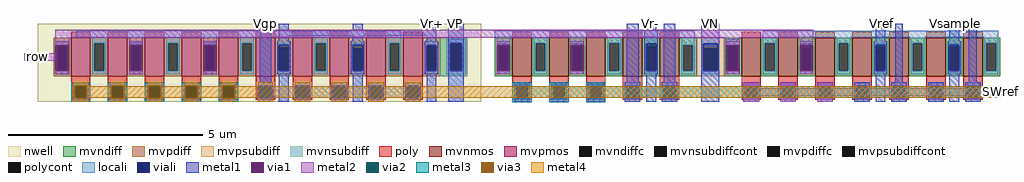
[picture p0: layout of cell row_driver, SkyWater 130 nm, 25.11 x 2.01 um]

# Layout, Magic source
magic
tech sky130B
<< nwell >>
rect -30 -2124 1110 -1924
<< mvnmos >>
rect 1190 -2059 1240 -1959
rect 1285 -2059 1335 -1959
rect 1380 -2059 1430 -1959
rect 1475 -2059 1525 -1959
rect 1570 -2059 1620 -1959
rect 1780 -2059 1830 -1959
rect 1875 -2059 1925 -1959
rect 1970 -2059 2020 -1959
rect 2065 -2059 2115 -1959
rect 2160 -2059 2210 -1959
rect 2255 -2059 2305 -1959
rect 2350 -2059 2400 -1959
<< mvpmos >>
rect 55 -2059 105 -1959
rect 150 -2059 200 -1959
rect 245 -2059 295 -1959
rect 340 -2059 390 -1959
rect 435 -2059 485 -1959
rect 530 -2059 580 -1959
rect 625 -2059 675 -1959
rect 720 -2059 770 -1959
rect 815 -2059 865 -1959
rect 910 -2059 960 -1959
<< mvndiff >>
rect 1145 -1985 1190 -1959
rect 1145 -2044 1155 -1985
rect 1180 -2044 1190 -1985
rect 1145 -2059 1190 -2044
rect 1240 -1974 1285 -1959
rect 1240 -2044 1250 -1974
rect 1275 -2044 1285 -1974
rect 1240 -2059 1285 -2044
rect 1335 -1985 1380 -1959
rect 1335 -2044 1345 -1985
rect 1370 -2044 1380 -1985
rect 1335 -2059 1380 -2044
rect 1430 -1974 1475 -1959
rect 1430 -2044 1440 -1974
rect 1465 -2044 1475 -1974
rect 1430 -2059 1475 -2044
rect 1525 -1983 1570 -1959
rect 1525 -2044 1535 -1983
rect 1560 -2044 1570 -1983
rect 1525 -2059 1570 -2044
rect 1620 -1979 1665 -1959
rect 1620 -2044 1630 -1979
rect 1655 -2044 1665 -1979
rect 1735 -1979 1780 -1959
rect 1735 -2044 1745 -1979
rect 1770 -2044 1780 -1979
rect 1620 -2059 1665 -2044
rect 1735 -2059 1780 -2044
rect 1830 -1974 1875 -1959
rect 1830 -2044 1840 -1974
rect 1865 -2044 1875 -1974
rect 1830 -2059 1875 -2044
rect 1925 -1986 1970 -1959
rect 1925 -2044 1935 -1986
rect 1960 -2044 1970 -1986
rect 1925 -2059 1970 -2044
rect 2020 -1974 2065 -1959
rect 2020 -2044 2030 -1974
rect 2055 -2044 2065 -1974
rect 2020 -2059 2065 -2044
rect 2115 -1984 2160 -1959
rect 2115 -2044 2125 -1984
rect 2150 -2044 2160 -1984
rect 2115 -2059 2160 -2044
rect 2210 -1974 2255 -1959
rect 2210 -2044 2220 -1974
rect 2245 -2044 2255 -1974
rect 2210 -2059 2255 -2044
rect 2305 -1984 2350 -1959
rect 2305 -2044 2315 -1984
rect 2340 -2044 2350 -1984
rect 2305 -2059 2350 -2044
rect 2400 -1974 2445 -1959
rect 2400 -2044 2410 -1974
rect 2435 -2044 2445 -1974
rect 2400 -2059 2445 -2044
<< mvpdiff >>
rect 10 -1979 55 -1959
rect 10 -2044 20 -1979
rect 45 -2044 55 -1979
rect 10 -2059 55 -2044
rect 105 -1974 150 -1959
rect 105 -2044 115 -1974
rect 140 -2044 150 -1974
rect 105 -2059 150 -2044
rect 200 -1986 245 -1959
rect 200 -2044 210 -1986
rect 235 -2044 245 -1986
rect 200 -2059 245 -2044
rect 295 -1974 340 -1959
rect 295 -2044 305 -1974
rect 330 -2044 340 -1974
rect 295 -2059 340 -2044
rect 390 -1985 435 -1959
rect 390 -2044 400 -1985
rect 425 -2044 435 -1985
rect 390 -2059 435 -2044
rect 485 -1974 530 -1959
rect 485 -2044 495 -1974
rect 520 -2044 530 -1974
rect 485 -2059 530 -2044
rect 580 -1985 625 -1959
rect 580 -2044 590 -1985
rect 615 -2044 625 -1985
rect 580 -2059 625 -2044
rect 675 -1974 720 -1959
rect 675 -2044 685 -1974
rect 710 -2044 720 -1974
rect 675 -2059 720 -2044
rect 770 -1988 815 -1959
rect 770 -2044 780 -1988
rect 805 -2044 815 -1988
rect 770 -2059 815 -2044
rect 865 -1974 910 -1959
rect 865 -2044 875 -1974
rect 900 -2044 910 -1974
rect 865 -2059 910 -2044
rect 960 -1979 1005 -1959
rect 960 -2044 970 -1979
rect 995 -2044 1005 -1979
rect 960 -2059 1005 -2044
<< mvndiffc >>
rect 1155 -2044 1180 -1985
rect 1250 -2044 1275 -1974
rect 1345 -2044 1370 -1985
rect 1440 -2044 1465 -1974
rect 1535 -2044 1560 -1983
rect 1630 -2044 1655 -1979
rect 1745 -2044 1770 -1979
rect 1840 -2044 1865 -1974
rect 1935 -2044 1960 -1986
rect 2030 -2044 2055 -1974
rect 2125 -2044 2150 -1984
rect 2220 -2044 2245 -1974
rect 2315 -2044 2340 -1984
rect 2410 -2044 2435 -1974
<< mvpdiffc >>
rect 20 -2044 45 -1979
rect 115 -2044 140 -1974
rect 210 -2044 235 -1986
rect 305 -2044 330 -1974
rect 400 -2044 425 -1985
rect 495 -2044 520 -1974
rect 590 -2044 615 -1985
rect 685 -2044 710 -1974
rect 780 -2044 805 -1988
rect 875 -2044 900 -1974
rect 970 -2044 995 -1979
<< mvpsubdiff >>
rect 1665 -1986 1735 -1959
rect 1665 -2044 1681 -1986
rect 1719 -2044 1735 -1986
rect 1665 -2059 1735 -2044
<< mvnsubdiff >>
rect 1005 -1974 1075 -1959
rect 1005 -2044 1030 -1974
rect 1060 -2044 1075 -1974
rect 1005 -2059 1075 -2044
<< mvpsubdiffcont >>
rect 1681 -2044 1719 -1986
<< mvnsubdiffcont >>
rect 1030 -2044 1060 -1974
<< poly >>
rect 55 -1959 105 -1944
rect 150 -1959 200 -1944
rect 245 -1959 295 -1944
rect 340 -1959 390 -1944
rect 435 -1959 485 -1944
rect 530 -1959 580 -1944
rect 625 -1959 675 -1944
rect 720 -1959 770 -1944
rect 815 -1959 865 -1944
rect 910 -1959 960 -1944
rect 1190 -1959 1240 -1944
rect 1285 -1959 1335 -1944
rect 1380 -1959 1430 -1944
rect 1475 -1959 1525 -1944
rect 1570 -1959 1620 -1944
rect 1780 -1959 1830 -1944
rect 1875 -1959 1925 -1944
rect 1970 -1959 2020 -1944
rect 2065 -1959 2115 -1944
rect 2160 -1959 2210 -1944
rect 2255 -1959 2305 -1944
rect 2350 -1959 2400 -1944
rect 55 -2084 105 -2059
rect 55 -2114 65 -2084
rect 95 -2114 105 -2084
rect 55 -2119 105 -2114
rect 150 -2084 200 -2059
rect 150 -2114 160 -2084
rect 190 -2114 200 -2084
rect 150 -2119 200 -2114
rect 245 -2084 295 -2059
rect 245 -2114 255 -2084
rect 285 -2114 295 -2084
rect 245 -2119 295 -2114
rect 340 -2084 390 -2059
rect 340 -2114 350 -2084
rect 380 -2114 390 -2084
rect 340 -2119 390 -2114
rect 435 -2084 485 -2059
rect 435 -2114 445 -2084
rect 475 -2114 485 -2084
rect 435 -2119 485 -2114
rect 530 -2084 580 -2059
rect 530 -2114 540 -2084
rect 570 -2114 580 -2084
rect 530 -2119 580 -2114
rect 625 -2084 675 -2059
rect 625 -2114 635 -2084
rect 665 -2114 675 -2084
rect 625 -2119 675 -2114
rect 720 -2084 770 -2059
rect 720 -2114 730 -2084
rect 760 -2114 770 -2084
rect 720 -2119 770 -2114
rect 815 -2084 865 -2059
rect 815 -2114 825 -2084
rect 855 -2114 865 -2084
rect 815 -2119 865 -2114
rect 910 -2084 960 -2059
rect 910 -2114 920 -2084
rect 950 -2114 960 -2084
rect 910 -2119 960 -2114
rect 1190 -2084 1240 -2059
rect 1190 -2114 1200 -2084
rect 1230 -2114 1240 -2084
rect 1190 -2119 1240 -2114
rect 1285 -2084 1335 -2059
rect 1285 -2114 1295 -2084
rect 1325 -2114 1335 -2084
rect 1285 -2119 1335 -2114
rect 1380 -2084 1430 -2059
rect 1380 -2114 1390 -2084
rect 1420 -2114 1430 -2084
rect 1380 -2119 1430 -2114
rect 1475 -2084 1525 -2059
rect 1475 -2114 1485 -2084
rect 1515 -2114 1525 -2084
rect 1475 -2119 1525 -2114
rect 1570 -2084 1620 -2059
rect 1570 -2114 1580 -2084
rect 1610 -2114 1620 -2084
rect 1570 -2119 1620 -2114
rect 1780 -2084 1830 -2059
rect 1780 -2114 1790 -2084
rect 1820 -2114 1830 -2084
rect 1780 -2119 1830 -2114
rect 1875 -2084 1925 -2059
rect 1875 -2114 1885 -2084
rect 1915 -2114 1925 -2084
rect 1875 -2119 1925 -2114
rect 1970 -2084 2020 -2059
rect 1970 -2114 1980 -2084
rect 2010 -2114 2020 -2084
rect 1970 -2119 2020 -2114
rect 2065 -2084 2115 -2059
rect 2065 -2114 2075 -2084
rect 2105 -2114 2115 -2084
rect 2065 -2119 2115 -2114
rect 2160 -2084 2210 -2059
rect 2160 -2114 2170 -2084
rect 2200 -2114 2210 -2084
rect 2160 -2119 2210 -2114
rect 2255 -2084 2305 -2059
rect 2255 -2114 2265 -2084
rect 2295 -2114 2305 -2084
rect 2255 -2119 2305 -2114
rect 2350 -2084 2400 -2059
rect 2350 -2114 2360 -2084
rect 2390 -2114 2400 -2084
rect 2350 -2119 2400 -2114
<< polycont >>
rect 65 -2114 95 -2084
rect 160 -2114 190 -2084
rect 255 -2114 285 -2084
rect 350 -2114 380 -2084
rect 445 -2114 475 -2084
rect 540 -2114 570 -2084
rect 635 -2114 665 -2084
rect 730 -2114 760 -2084
rect 825 -2114 855 -2084
rect 920 -2114 950 -2084
rect 1200 -2114 1230 -2084
rect 1295 -2114 1325 -2084
rect 1390 -2114 1420 -2084
rect 1485 -2114 1515 -2084
rect 1580 -2114 1610 -2084
rect 1790 -2114 1820 -2084
rect 1885 -2114 1915 -2084
rect 1980 -2114 2010 -2084
rect 2075 -2114 2105 -2084
rect 2170 -2114 2200 -2084
rect 2265 -2114 2295 -2084
rect 2360 -2114 2390 -2084
<< locali >>
rect 68 -1958 905 -1941
rect 1145 -1958 1660 -1941
rect 15 -1979 50 -1969
rect 15 -2044 20 -1979
rect 45 -2044 50 -1979
rect 15 -2054 50 -2044
rect 110 -1974 145 -1958
rect 110 -2044 115 -1974
rect 140 -2044 145 -1974
rect 300 -1974 335 -1958
rect 110 -2054 145 -2044
rect 205 -1979 240 -1975
rect 205 -2044 210 -1979
rect 235 -2044 240 -1979
rect 205 -2054 240 -2044
rect 300 -2044 305 -1974
rect 330 -2044 335 -1974
rect 490 -1974 525 -1958
rect 300 -2054 335 -2044
rect 395 -1979 430 -1975
rect 395 -2044 400 -1979
rect 425 -2044 430 -1979
rect 395 -2054 430 -2044
rect 490 -2044 495 -1974
rect 520 -2044 525 -1974
rect 680 -1974 715 -1958
rect 490 -2054 525 -2044
rect 585 -1979 620 -1975
rect 585 -2044 590 -1979
rect 615 -2044 620 -1979
rect 585 -2054 620 -2044
rect 680 -2044 685 -1974
rect 710 -2044 715 -1974
rect 870 -1974 905 -1958
rect 680 -2054 715 -2044
rect 775 -1979 810 -1975
rect 775 -2044 780 -1979
rect 805 -2044 810 -1979
rect 775 -2054 810 -2044
rect 870 -2044 875 -1974
rect 900 -2044 905 -1974
rect 870 -2054 905 -2044
rect 965 -1979 1000 -1969
rect 965 -2044 970 -1979
rect 995 -2044 1000 -1979
rect 965 -2054 1000 -2044
rect 1020 -1974 1070 -1964
rect 1020 -2044 1030 -1974
rect 1060 -2044 1070 -1974
rect 1245 -1974 1280 -1958
rect 1020 -2054 1070 -2044
rect 1150 -1979 1185 -1975
rect 1150 -2044 1155 -1979
rect 1180 -2044 1185 -1979
rect 1150 -2054 1185 -2044
rect 1245 -2044 1250 -1974
rect 1275 -2044 1280 -1974
rect 1435 -1974 1470 -1958
rect 1245 -2054 1280 -2044
rect 1340 -1979 1375 -1975
rect 1340 -2044 1345 -1979
rect 1370 -2044 1375 -1979
rect 1340 -2054 1375 -2044
rect 1435 -2044 1440 -1974
rect 1465 -2044 1470 -1974
rect 1435 -2054 1470 -2044
rect 1530 -2044 1535 -1975
rect 1560 -2044 1565 -1975
rect 1530 -2054 1565 -2044
rect 1625 -1979 1660 -1958
rect 1835 -1958 2440 -1941
rect 1625 -2044 1630 -1979
rect 1655 -2044 1660 -1979
rect 1625 -2054 1660 -2044
rect 1677 -2044 1681 -1975
rect 1719 -2044 1723 -1975
rect 1677 -2054 1723 -2044
rect 1740 -1979 1775 -1964
rect 1740 -2044 1745 -1979
rect 1770 -2044 1775 -1979
rect 1740 -2054 1775 -2044
rect 1835 -1974 1870 -1958
rect 1835 -2044 1840 -1974
rect 1865 -2044 1870 -1974
rect 2025 -1974 2060 -1958
rect 1835 -2054 1870 -2044
rect 1930 -1979 1965 -1975
rect 1930 -2044 1935 -1979
rect 1960 -2044 1965 -1979
rect 1930 -2054 1965 -2044
rect 2025 -2044 2030 -1974
rect 2055 -2044 2060 -1974
rect 2215 -1974 2250 -1958
rect 2025 -2054 2060 -2044
rect 2120 -1979 2155 -1975
rect 2120 -2044 2125 -1979
rect 2150 -2044 2155 -1979
rect 2120 -2054 2155 -2044
rect 2215 -2044 2220 -1974
rect 2245 -2044 2250 -1974
rect 2405 -1974 2440 -1958
rect 2215 -2054 2250 -2044
rect 2310 -1979 2345 -1975
rect 2310 -2044 2315 -1979
rect 2340 -2044 2345 -1979
rect 2310 -2054 2345 -2044
rect 2405 -2044 2410 -1974
rect 2435 -2044 2440 -1974
rect 2405 -2054 2440 -2044
rect 60 -2084 100 -2074
rect 60 -2114 65 -2084
rect 95 -2114 100 -2084
rect 60 -2124 100 -2114
rect 155 -2084 195 -2074
rect 155 -2114 160 -2084
rect 190 -2114 195 -2084
rect 155 -2124 195 -2114
rect 250 -2084 290 -2074
rect 250 -2114 255 -2084
rect 285 -2114 290 -2084
rect 250 -2124 290 -2114
rect 345 -2084 385 -2074
rect 345 -2114 350 -2084
rect 380 -2114 385 -2084
rect 345 -2124 385 -2114
rect 440 -2084 480 -2074
rect 440 -2114 445 -2084
rect 475 -2114 480 -2084
rect 440 -2124 480 -2114
rect 535 -2084 575 -2074
rect 630 -2084 670 -2074
rect 725 -2084 765 -2074
rect 820 -2084 860 -2074
rect 915 -2084 955 -2074
rect 535 -2114 540 -2084
rect 570 -2114 635 -2084
rect 665 -2114 730 -2084
rect 760 -2114 825 -2084
rect 855 -2114 920 -2084
rect 950 -2114 955 -2084
rect 535 -2124 575 -2114
rect 630 -2124 670 -2114
rect 725 -2124 765 -2114
rect 820 -2124 860 -2114
rect 915 -2124 955 -2114
rect 1195 -2084 1235 -2074
rect 1195 -2114 1200 -2084
rect 1230 -2114 1235 -2084
rect 1195 -2124 1235 -2114
rect 1290 -2084 1330 -2074
rect 1290 -2114 1295 -2084
rect 1325 -2114 1330 -2084
rect 1290 -2124 1330 -2114
rect 1385 -2084 1425 -2074
rect 1385 -2114 1390 -2084
rect 1420 -2114 1425 -2084
rect 1385 -2124 1425 -2114
rect 1480 -2084 1520 -2074
rect 1575 -2084 1615 -2074
rect 1480 -2114 1485 -2084
rect 1515 -2114 1580 -2084
rect 1610 -2114 1615 -2084
rect 1480 -2124 1520 -2114
rect 1575 -2124 1615 -2114
rect 1785 -2084 1825 -2074
rect 1785 -2114 1790 -2084
rect 1820 -2114 1825 -2084
rect 1785 -2124 1825 -2114
rect 1880 -2084 1920 -2074
rect 1880 -2114 1885 -2084
rect 1915 -2114 1920 -2084
rect 1880 -2124 1920 -2114
rect 1975 -2084 2015 -2074
rect 1975 -2114 1980 -2084
rect 2010 -2114 2015 -2084
rect 1975 -2124 2015 -2114
rect 2070 -2084 2110 -2074
rect 2165 -2084 2205 -2074
rect 2070 -2114 2075 -2084
rect 2105 -2114 2170 -2084
rect 2200 -2114 2205 -2084
rect 2070 -2124 2110 -2114
rect 2165 -2124 2205 -2114
rect 2260 -2084 2300 -2074
rect 2355 -2084 2395 -2074
rect 2260 -2114 2265 -2084
rect 2295 -2114 2360 -2084
rect 2390 -2114 2395 -2084
rect 2260 -2124 2300 -2114
rect 2355 -2124 2395 -2114
<< viali >>
rect 20 -2044 45 -1979
rect 210 -1986 235 -1979
rect 210 -2044 235 -1986
rect 400 -1985 425 -1979
rect 400 -2044 425 -1985
rect 590 -1985 615 -1979
rect 590 -2044 615 -1985
rect 780 -1988 805 -1979
rect 780 -2044 805 -1988
rect 970 -2044 995 -1979
rect 1030 -2044 1060 -1974
rect 1155 -1985 1180 -1979
rect 1155 -2044 1180 -1985
rect 1345 -1985 1370 -1979
rect 1345 -2044 1370 -1985
rect 1535 -1983 1560 -1975
rect 1535 -2044 1560 -1983
rect 1681 -1986 1719 -1975
rect 1681 -2044 1719 -1986
rect 1745 -2044 1770 -1979
rect 1935 -1986 1960 -1979
rect 1935 -2044 1960 -1986
rect 2125 -1984 2150 -1979
rect 2125 -2044 2150 -1984
rect 2315 -1984 2340 -1979
rect 2315 -2044 2340 -1984
rect 65 -2114 95 -2084
rect 160 -2114 190 -2084
rect 255 -2114 285 -2084
rect 350 -2114 380 -2084
rect 445 -2114 475 -2084
rect 540 -2114 570 -2084
rect 635 -2114 665 -2084
rect 730 -2114 760 -2084
rect 825 -2114 855 -2084
rect 920 -2114 950 -2084
rect 1200 -2114 1230 -2084
rect 1295 -2114 1325 -2084
rect 1390 -2114 1420 -2084
rect 1485 -2114 1515 -2084
rect 1580 -2114 1610 -2084
rect 1790 -2114 1820 -2084
rect 1885 -2114 1915 -2084
rect 1980 -2114 2010 -2084
rect 2075 -2114 2105 -2084
rect 2170 -2114 2200 -2084
rect 2265 -2114 2295 -2084
rect 2360 -2114 2390 -2084
<< metal1 >>
rect 15 -1979 50 -1969
rect 15 -2054 50 -2044
rect 205 -1979 240 -1969
rect 205 -2054 240 -2044
rect 395 -1979 430 -1969
rect 395 -2054 430 -2044
rect 540 -2074 570 -1924
rect 590 -1939 615 -1924
rect 780 -1939 805 -1924
rect 970 -1939 995 -1924
rect 590 -1954 995 -1939
rect 590 -1969 615 -1954
rect 780 -1969 805 -1954
rect 970 -1969 995 -1954
rect 585 -1979 620 -1969
rect 585 -2044 590 -1979
rect 615 -2044 620 -1979
rect 585 -2054 620 -2044
rect 775 -1979 810 -1969
rect 775 -2044 780 -1979
rect 805 -2044 810 -1979
rect 775 -2054 810 -2044
rect 965 -1979 1000 -1969
rect 965 -2044 970 -1979
rect 995 -2044 1000 -1979
rect 965 -2054 1000 -2044
rect 1025 -1974 1065 -1924
rect 1025 -2044 1030 -1974
rect 1060 -2044 1065 -1974
rect 60 -2084 100 -2074
rect 60 -2114 65 -2084
rect 95 -2114 100 -2084
rect 60 -2124 100 -2114
rect 155 -2084 195 -2074
rect 155 -2114 160 -2084
rect 190 -2114 195 -2084
rect 155 -2124 195 -2114
rect 250 -2084 290 -2074
rect 250 -2114 255 -2084
rect 285 -2114 290 -2084
rect 250 -2124 290 -2114
rect 345 -2084 385 -2074
rect 345 -2114 350 -2084
rect 380 -2114 385 -2084
rect 345 -2124 385 -2114
rect 440 -2084 480 -2074
rect 440 -2114 445 -2084
rect 475 -2114 480 -2084
rect 440 -2124 480 -2114
rect 535 -2084 575 -2074
rect 535 -2114 540 -2084
rect 570 -2114 575 -2084
rect 535 -2124 575 -2114
rect 590 -2124 615 -2054
rect 630 -2084 670 -2074
rect 630 -2114 635 -2084
rect 665 -2114 670 -2084
rect 630 -2124 670 -2114
rect 725 -2084 765 -2074
rect 725 -2114 730 -2084
rect 760 -2114 765 -2084
rect 725 -2124 765 -2114
rect 780 -2124 805 -2054
rect 820 -2084 860 -2074
rect 820 -2114 825 -2084
rect 855 -2114 860 -2084
rect 820 -2124 860 -2114
rect 915 -2084 955 -2074
rect 915 -2114 920 -2084
rect 950 -2114 955 -2084
rect 915 -2124 955 -2114
rect 970 -2124 995 -2054
rect 1025 -2124 1065 -2044
rect 1150 -1979 1185 -1969
rect 1150 -2054 1185 -2044
rect 1340 -1979 1375 -1969
rect 1340 -2054 1375 -2044
rect 1485 -2074 1515 -1924
rect 1535 -1939 1560 -1924
rect 1530 -1975 1565 -1939
rect 1530 -2044 1535 -1975
rect 1560 -2044 1565 -1975
rect 1530 -2054 1565 -2044
rect 1195 -2084 1235 -2074
rect 1195 -2114 1200 -2084
rect 1230 -2114 1235 -2084
rect 1195 -2124 1235 -2114
rect 1290 -2084 1330 -2074
rect 1290 -2114 1295 -2084
rect 1325 -2114 1330 -2084
rect 1290 -2124 1330 -2114
rect 1385 -2084 1425 -2074
rect 1385 -2114 1390 -2084
rect 1420 -2114 1425 -2084
rect 1385 -2124 1425 -2114
rect 1480 -2084 1520 -2074
rect 1480 -2114 1485 -2084
rect 1515 -2114 1520 -2084
rect 1480 -2124 1520 -2114
rect 1535 -2124 1560 -2054
rect 1580 -2074 1610 -1924
rect 1677 -1975 1723 -1924
rect 2125 -1969 2150 -1924
rect 1677 -2044 1681 -1975
rect 1719 -2044 1723 -1975
rect 1575 -2084 1615 -2074
rect 1575 -2114 1580 -2084
rect 1610 -2114 1615 -2084
rect 1575 -2124 1615 -2114
rect 1677 -2124 1723 -2044
rect 1740 -1979 1775 -1969
rect 1740 -2054 1775 -2044
rect 1930 -1979 1965 -1969
rect 1930 -2054 1965 -2044
rect 2120 -1979 2155 -1969
rect 2120 -2044 2125 -1979
rect 2150 -2044 2155 -1979
rect 2120 -2054 2155 -2044
rect 1785 -2084 1825 -2074
rect 1785 -2114 1790 -2084
rect 1820 -2114 1825 -2084
rect 1785 -2124 1825 -2114
rect 1880 -2084 1920 -2074
rect 1880 -2114 1885 -2084
rect 1915 -2114 1920 -2084
rect 1880 -2124 1920 -2114
rect 1975 -2084 2015 -2074
rect 1975 -2114 1980 -2084
rect 2010 -2114 2015 -2084
rect 1975 -2124 2015 -2114
rect 2070 -2084 2110 -2074
rect 2070 -2114 2075 -2084
rect 2105 -2114 2110 -2084
rect 2070 -2124 2110 -2114
rect 2125 -2124 2150 -2054
rect 2175 -2074 2195 -1924
rect 2315 -1969 2340 -1924
rect 2310 -1979 2345 -1969
rect 2310 -2044 2315 -1979
rect 2340 -2044 2345 -1979
rect 2310 -2054 2345 -2044
rect 2165 -2084 2205 -2074
rect 2165 -2114 2170 -2084
rect 2200 -2114 2205 -2084
rect 2165 -2124 2205 -2114
rect 2260 -2084 2300 -2074
rect 2260 -2114 2265 -2084
rect 2295 -2114 2300 -2084
rect 2260 -2124 2300 -2114
rect 2315 -2124 2340 -2054
rect 2365 -2074 2385 -1924
rect 2355 -2084 2395 -2074
rect 2355 -2114 2360 -2084
rect 2390 -2114 2395 -2084
rect 2355 -2124 2395 -2114
<< via1 >>
rect 15 -2044 20 -1979
rect 20 -2044 45 -1979
rect 45 -2044 50 -1979
rect 205 -2044 210 -1979
rect 210 -2044 235 -1979
rect 235 -2044 240 -1979
rect 395 -2044 400 -1979
rect 400 -2044 425 -1979
rect 425 -2044 430 -1979
rect 65 -2114 95 -2084
rect 160 -2114 190 -2084
rect 255 -2114 285 -2084
rect 350 -2114 380 -2084
rect 445 -2114 475 -2084
rect 1150 -2044 1155 -1979
rect 1155 -2044 1180 -1979
rect 1180 -2044 1185 -1979
rect 1340 -2044 1345 -1979
rect 1345 -2044 1370 -1979
rect 1370 -2044 1375 -1979
rect 1200 -2114 1230 -2084
rect 1295 -2114 1325 -2084
rect 1390 -2114 1420 -2084
rect 1740 -2044 1745 -1979
rect 1745 -2044 1770 -1979
rect 1770 -2044 1775 -1979
rect 1930 -2044 1935 -1979
rect 1935 -2044 1960 -1979
rect 1960 -2044 1965 -1979
rect 1790 -2114 1820 -2084
rect 1885 -2114 1915 -2084
rect 1980 -2114 2010 -2084
<< metal2 >>
rect 15 -1959 1965 -1939
rect 15 -1979 50 -1959
rect -66 -2019 15 -1999
rect 15 -2054 50 -2044
rect 205 -1979 240 -1959
rect 205 -2054 240 -2044
rect 395 -1979 430 -1959
rect 395 -2054 430 -2044
rect 1150 -1979 1185 -1959
rect 1150 -2054 1185 -2044
rect 1340 -1979 1375 -1959
rect 1340 -2054 1375 -2044
rect 1740 -1979 1775 -1959
rect 1740 -2054 1775 -2044
rect 1930 -1979 1965 -1959
rect 1930 -2054 1965 -2044
rect 60 -2084 100 -2074
rect 60 -2114 65 -2084
rect 95 -2114 100 -2084
rect 60 -2124 100 -2114
rect 155 -2084 195 -2074
rect 155 -2114 160 -2084
rect 190 -2114 195 -2084
rect 155 -2124 195 -2114
rect 250 -2084 290 -2074
rect 250 -2114 255 -2084
rect 285 -2114 290 -2084
rect 250 -2124 290 -2114
rect 345 -2084 385 -2074
rect 345 -2114 350 -2084
rect 380 -2114 385 -2084
rect 345 -2124 385 -2114
rect 440 -2084 480 -2074
rect 440 -2114 445 -2084
rect 475 -2114 480 -2084
rect 440 -2124 480 -2114
rect 1195 -2084 1235 -2074
rect 1195 -2114 1200 -2084
rect 1230 -2114 1235 -2084
rect 1195 -2124 1235 -2114
rect 1290 -2084 1330 -2074
rect 1290 -2114 1295 -2084
rect 1325 -2114 1330 -2084
rect 1290 -2124 1330 -2114
rect 1385 -2084 1425 -2074
rect 1385 -2114 1390 -2084
rect 1420 -2114 1425 -2084
rect 1385 -2124 1425 -2114
rect 1785 -2084 1825 -2074
rect 1785 -2114 1790 -2084
rect 1820 -2089 1825 -2084
rect 1880 -2084 1920 -2074
rect 1880 -2089 1885 -2084
rect 1820 -2109 1885 -2089
rect 1820 -2114 1825 -2109
rect 1785 -2124 1825 -2114
rect 1880 -2114 1885 -2109
rect 1915 -2089 1920 -2084
rect 1975 -2084 2015 -2074
rect 1975 -2089 1980 -2084
rect 1915 -2109 1980 -2089
rect 1915 -2114 1920 -2109
rect 1880 -2124 1920 -2114
rect 1975 -2114 1980 -2109
rect 2010 -2089 2015 -2084
rect 2010 -2109 2445 -2089
rect 2010 -2114 2015 -2109
rect 1975 -2124 2015 -2114
<< via2 >>
rect 65 -2114 95 -2084
rect 160 -2114 190 -2084
rect 255 -2114 285 -2084
rect 350 -2114 380 -2084
rect 445 -2114 475 -2084
rect 1200 -2114 1230 -2084
rect 1295 -2114 1325 -2084
rect 1390 -2114 1420 -2084
<< metal3 >>
rect 55 -2083 105 -2074
rect 55 -2115 64 -2083
rect 96 -2115 105 -2083
rect 55 -2124 105 -2115
rect 150 -2083 200 -2074
rect 150 -2115 159 -2083
rect 191 -2115 200 -2083
rect 150 -2124 200 -2115
rect 245 -2083 295 -2074
rect 245 -2115 254 -2083
rect 286 -2115 295 -2083
rect 245 -2124 295 -2115
rect 340 -2083 390 -2074
rect 340 -2115 349 -2083
rect 381 -2115 390 -2083
rect 340 -2124 390 -2115
rect 435 -2083 485 -2074
rect 435 -2115 444 -2083
rect 476 -2115 485 -2083
rect 435 -2124 485 -2115
rect 1190 -2084 1240 -2074
rect 1285 -2084 1335 -2074
rect 1380 -2084 1430 -2074
rect 1190 -2114 1200 -2084
rect 1230 -2114 1295 -2084
rect 1325 -2114 1390 -2084
rect 1420 -2114 2445 -2084
rect 1190 -2125 1240 -2114
rect 1285 -2125 1335 -2114
rect 1380 -2125 1430 -2114
<< via3 >>
rect 64 -2084 96 -2083
rect 64 -2114 65 -2084
rect 65 -2114 95 -2084
rect 95 -2114 96 -2084
rect 64 -2115 96 -2114
rect 159 -2084 191 -2083
rect 159 -2114 160 -2084
rect 160 -2114 190 -2084
rect 190 -2114 191 -2084
rect 159 -2115 191 -2114
rect 254 -2084 286 -2083
rect 254 -2114 255 -2084
rect 255 -2114 285 -2084
rect 285 -2114 286 -2084
rect 254 -2115 286 -2114
rect 349 -2084 381 -2083
rect 349 -2114 350 -2084
rect 350 -2114 380 -2084
rect 380 -2114 381 -2084
rect 349 -2115 381 -2114
rect 444 -2084 476 -2083
rect 444 -2114 445 -2084
rect 445 -2114 475 -2084
rect 475 -2114 476 -2084
rect 444 -2115 476 -2114
<< metal4 >>
rect 60 -2083 100 -2074
rect 60 -2115 64 -2083
rect 96 -2084 100 -2083
rect 155 -2083 195 -2074
rect 155 -2084 159 -2083
rect 96 -2114 159 -2084
rect 96 -2115 100 -2114
rect 60 -2124 100 -2115
rect 155 -2115 159 -2114
rect 191 -2084 195 -2083
rect 250 -2083 290 -2074
rect 250 -2084 254 -2083
rect 191 -2114 254 -2084
rect 191 -2115 195 -2114
rect 155 -2124 195 -2115
rect 250 -2115 254 -2114
rect 286 -2084 290 -2083
rect 345 -2083 385 -2074
rect 345 -2084 349 -2083
rect 286 -2114 349 -2084
rect 286 -2115 290 -2114
rect 250 -2124 290 -2115
rect 345 -2115 349 -2114
rect 381 -2084 385 -2083
rect 440 -2083 480 -2074
rect 440 -2084 444 -2083
rect 381 -2114 444 -2084
rect 381 -2115 385 -2114
rect 345 -2124 385 -2115
rect 440 -2115 444 -2114
rect 476 -2084 480 -2083
rect 535 -2084 575 -2074
rect 630 -2084 670 -2074
rect 725 -2084 765 -2074
rect 820 -2084 860 -2074
rect 915 -2084 955 -2074
rect 476 -2114 2445 -2084
rect 476 -2115 480 -2114
rect 440 -2124 480 -2115
rect 535 -2124 575 -2114
rect 630 -2124 670 -2114
rect 725 -2124 765 -2114
rect 820 -2124 860 -2114
rect 915 -2124 955 -2114
<< labels >>
rlabel metal1 1045 -1924 1045 -1924 1 VP
rlabel metal1 1545 -1924 1545 -1924 1 Vr-
rlabel metal1 1700 -1924 1700 -1924 1 VN
rlabel metal1 1500 -1924 1500 -1924 1 Vgn
rlabel metal1 985 -1924 985 -1924 1 Vr+
rlabel metal1 2140 -1924 2140 -1924 1 Vref
rlabel metal1 2185 -1924 2185 -1924 1 WR
rlabel metal1 2330 -1924 2330 -1924 1 Vsample
rlabel metal1 2375 -1924 2375 -1924 1 SAMPLE
rlabel metal1 555 -1924 555 -1924 1 Vgp
rlabel metal3 2445 -2099 2445 -2099 3 SWref
rlabel metal4 2445 -2094 2445 -2094 3 SWr+
rlabel metal2 2445 -2103 2445 -2103 3 SWr-
rlabel metal2 -30 -2009 -30 -2009 7 row
<< end >>
